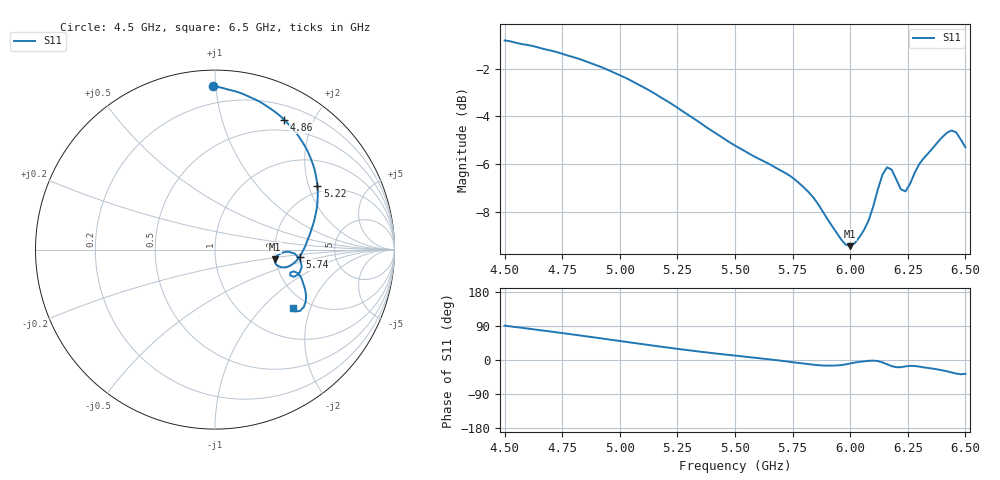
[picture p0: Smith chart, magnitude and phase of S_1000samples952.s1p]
! TOUCHSTONE file generated by CST MICROWAVE STUDIO
! Date and time: Sat Oct 29 21:55:45 2022
! Project name: L.cst
! Parameters = {Di=1.27; Epsilon_r=1.56; InnerDiameter=1.27; Length=2; Lf=10; Lg=60; OuterConductorThickness=0.2921; OuterDiameter=3.6; Wf=3; Wp=41.2; de=1.5; df=6.8; g=0.8; gx=0.667377; gy=4.53942; h=2.34; hf=1.524; px=9.8438; py=14.8927; w=9.7; wx=9.17642; wy=10.3533}
! Header version: 2018
! Port assignment regex: !\s*Touchstone port\s*([0-9]+)\s*=\s*(CST MWS port|CST DS port)\s*([0-9]+|Zmin|Zmax)\s*\(\"(.*)\"\)(\s*mode\s*([0-9]+))?.*
! Touchstone port assignment:
! Touchstone port 1 = CST MWS port 1 ("")
# GHz S DB R 50
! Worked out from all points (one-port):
!   101 points, 4.5 GHz to 6.5 GHz, reference 50 ohm
!   lowest |S11| = -9.4 dB at 6 GHz (marker M1), VSWR 2.02, Z = 98.9 - j11.9 ohm
!   |S11| at or under -10 dB: nowhere
!   S11 on the Smith chart (normalised r, x): 4.5 GHz: 0.09, +0.98; 4.86 GHz: 0.36, +1.61; 5.22 GHz: 1.77, +2.29; 5.74 GHz: 2.76, -0.29; 6.5 GHz: 1.67, -1.53
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4.5  -0.82 90.6
4.62  -1.05 81.4
4.76  -1.41 70.2
4.86  -1.73 62.0
5  -2.28 50.2
5.12  -2.87 40.1
5.22  -3.45 31.9
5.26  -3.71 28.7
5.5  -5.23 11.6
5.74  -6.51 -5.0
5.76  -6.65 -6.6
5.88  -7.98 -14.5
5.94  -8.87 -14.4
6  -9.44 -9.1
6.06  -8.77 -3.6
6.1  -7.78 -1.6
6.12  -7.07 -2.8
6.16  -6.14 -11.2
6.18  -6.24 -16.1
6.2  -6.64 -19.0
6.22  -7.07 -19.0
6.26  -6.83 -15.5
6.3  -6.00 -17.6
6.4  -4.87 -27.3
6.44  -4.60 -32.8
6.46  -4.68 -35.9
6.48  -4.98 -37.6
6.5  -5.30 -36.4
